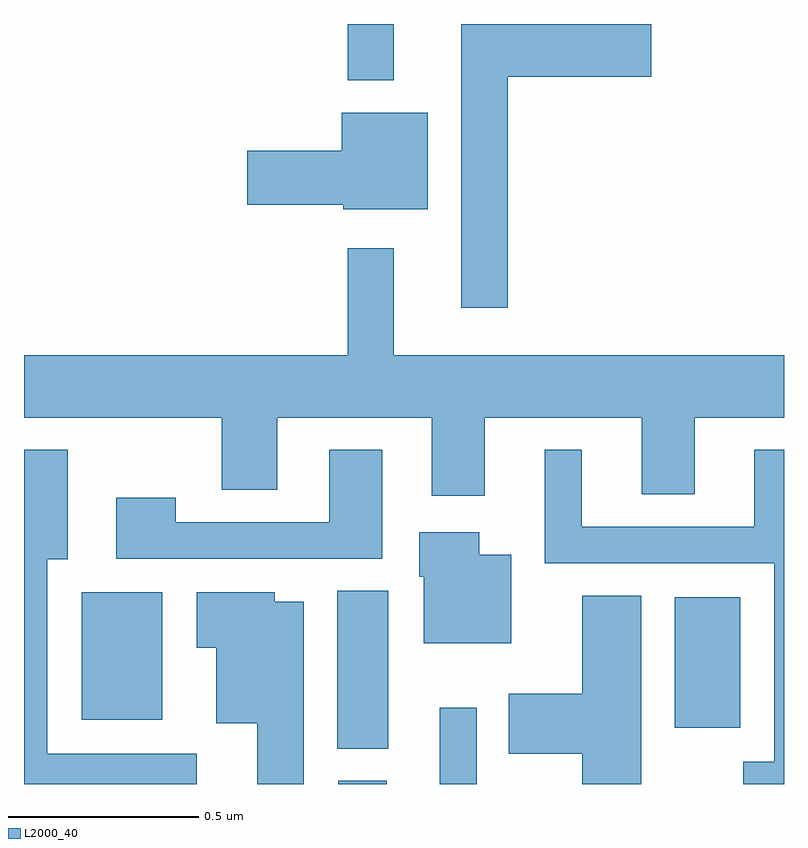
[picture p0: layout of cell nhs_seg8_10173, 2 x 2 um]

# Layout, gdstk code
import gdstk
lib = gdstk.Library(unit=1e-6, precision=1e-09)
def R(c, l, rs):  # rectangles x0, y0, x1, y1
    for r in rs: c.add(gdstk.rectangle(r[:2], r[2:], *l))
def P(c, l, *ps):  # polygons
    for p in ps: c.add(gdstk.Polygon(p, *l))
L2000_40 = (2000, 40)

nhs_seg8_10173 = lib.new_cell('nhs_seg8_10173')
R(nhs_seg8_10173, L2000_40, [(246.827,1084.9,246.955,1084.908), (247.094,1084.9,247.191,1085.101), (246.824,1084.993,246.958,1085.408), (247.712,1085.048,247.885,1085.392), (246.152,1085.069,246.364,1085.404), (246.852,1086.752,246.973,1086.9)])
P(nhs_seg8_10173, L2000_40, [(247.273,1086.761),(247.651,1086.761),(247.651,1086.9),(247.151,1086.9),(247.151,1086.153),(247.273,1086.153)],
  [(247.063,1086.667),(246.836,1086.667),(246.836,1086.566),(246.588,1086.566),(246.588,1086.424),(246.84,1086.424),(246.84,1086.413),(247.063,1086.413)],
  [(247.213,1085.864),(247.625,1085.864),(247.625,1085.662),(247.765,1085.662),(247.765,1085.864),(248,1085.864),(248,1086.028),(246.973,1086.028),(246.973,1086.31),(246.852,1086.31),(246.852,1086.028),(246,1086.028),(246,1085.864),(246.52,1085.864),(246.52,1085.674),(246.667,1085.674),(246.667,1085.864),(247.073,1085.864),(247.073,1085.658),(247.213,1085.658)],
  [(248,1085.779),(247.922,1085.779),(247.922,1085.577),(247.468,1085.577),(247.468,1085.779),(247.37,1085.779),(247.37,1085.481),(247.974,1085.481),(247.974,1084.959),(247.893,1084.959),(247.893,1084.9),(248,1084.9)],
  [(246.943,1085.779),(246.803,1085.779),(246.803,1085.589),(246.399,1085.589),(246.399,1085.653),(246.243,1085.653),(246.243,1085.493),(246.943,1085.493)],
  [(246.454,1084.98),(246.061,1084.98),(246.061,1085.492),(246.115,1085.492),(246.115,1085.779),(246,1085.779),(246,1084.9),(246.454,1084.9)],
  [(247.282,1085.503),(247.198,1085.503),(247.198,1085.563),(247.04,1085.563),(247.04,1085.445),(247.052,1085.445),(247.052,1085.27),(247.282,1085.27)],
  [(246.736,1085.38),(246.66,1085.38),(246.66,1085.404),(246.455,1085.404),(246.455,1085.258),(246.506,1085.258),(246.506,1085.06),(246.614,1085.06),(246.614,1084.9),(246.736,1084.9)],
  [(247.624,1085.396),(247.469,1085.396),(247.469,1085.137),(247.276,1085.137),(247.276,1084.979),(247.469,1084.979),(247.469,1084.9),(247.624,1084.9)])

lib.write_gds('nhs_seg8_10173.gds')
